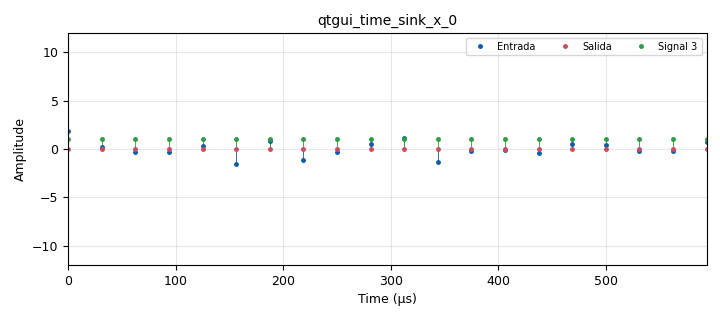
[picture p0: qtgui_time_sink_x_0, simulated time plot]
options:
  parameters:
    author: Gabriela
    copyright: UIS
    description: ejemplo de un acumulador
    generate_options: qt_gui
    id: miprimer
    output_language: python
    title: miprimer
  states: {}

blocks:
- name: samp_rate
  id: variable
  parameters:
    value: '32000'
  states: {}
- name: analog_noise_source_x_0
  id: analog_noise_source_x
  parameters:
    amp: '1'
    noise_type: analog.GR_GAUSSIAN
    seed: '0'
    type: float
  states: {}
- name: blocks_vector_source_x_0
  id: blocks_vector_source_x
  parameters:
    repeat: 'True'
    type: float
    vector: (1,4,-2,-3)
  states: {state: disabled}
- name: epy_block_0
  id: epy_block
  parameters:
    _source_code: "import numpy as np\nfrom gnuradio import gr\n\n\nclass blk(gr.sync_block):  \n\n\n\tdef __init__(self,):  \n\t\t\"\"\"Bloque promediador\"\"\"\n\t\tgr.sync_block.__init__( \n\t\tself,\n\t\tname='Time average',\n\t\tin_sig=[np.float32],\n\t\tout_sig=[np.float32,np.float32]\n\t\t)\n\t\tself.acum_anterior=0\n\t\tself.Ntotales=0\n\t\tself.acum_cuad=0\n\t\tself.acum_anterior2=0\n\n\tdef work(self, input_items, output_items):\n\t\tx=input_items[0]\n\t\ty1=output_items[0]#media\n\t\ty2=output_items[1]#media cuadratica\n\t\t\n\t\tN=len(x)\n\t\tself.Ntotales=self.Ntotales+N\n\t\tacumulado=self.acum_anterior+np.cumsum(x)#se usa esto debido a que se quiere saber el acumulado de toda \t\t\t#la señal no solo el de un vector\n\t\tself.acum_anterior=acumulado[N-1]\n\t\ty1[:]=acumulado/self.Ntotales\n\t\t\n\t\t#media cuadratica\n\t\t\n\t\tx2=np.multiply(x,x)\n\t\tacumulado2=self.acum_anterior2+np.cumsum(x2)#se usa esto debido a que se quiere saber el acumulado de toda \t\t\t#la señal no solo el de un vector\n\t\tself.acum_anterior2=acumulado2[N-1]\n\t\ty2[:]=acumulado2/self.Ntotales\n\t\t\n\t\t\n\t\t\n\t\n\n\t\t\n\t\treturn len(x)\n\n      \n"
  states: {}
- name: qtgui_number_sink_0
  id: qtgui_number_sink
  parameters:
    graph_type: qtgui.NUM_GRAPH_HORIZ
    name: '"La media"'
    type: float
  states: {}
- name: qtgui_number_sink_0_0
  id: qtgui_number_sink
  parameters:
    graph_type: qtgui.NUM_GRAPH_HORIZ
    name: '"La media cuadratica"'
    type: float
  states: {}
- name: qtgui_time_sink_x_0
  id: qtgui_time_sink_x
  parameters:
    label1: Entrada
    label2: Salida
    marker1: '0'
    marker2: '2'
    marker3: '1'
    nconnections: '3'
    size: '20'
    srate: samp_rate
    stemplot: 'True'
    type: float
    width1: '4'
    width2: '4'
    width3: '4'
    ymax: '12'
    ymin: '-12'
  states: {}

connections:
- [analog_noise_source_x_0, '0', epy_block_0, '0']
- [analog_noise_source_x_0, '0', qtgui_time_sink_x_0, '0']
- [blocks_vector_source_x_0, '0', epy_block_0, '0']
- [blocks_vector_source_x_0, '0', qtgui_time_sink_x_0, '0']
- [epy_block_0, '0', qtgui_number_sink_0, '0']
- [epy_block_0, '0', qtgui_time_sink_x_0, '1']
- [epy_block_0, '1', qtgui_number_sink_0_0, '0']
- [epy_block_0, '1', qtgui_time_sink_x_0, '2']

metadata:
  file_format: 1
